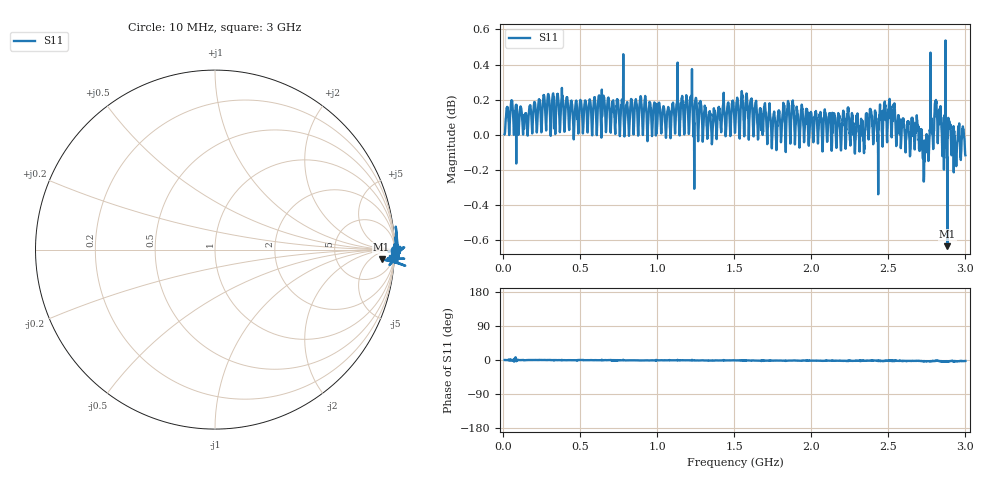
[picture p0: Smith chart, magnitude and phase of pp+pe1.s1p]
# HZ S RI R 50
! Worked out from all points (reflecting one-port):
!   2020 points, 10 MHz to 3 GHz, reference 50 ohm
!   lowest |S11| = -0.6 dB at 2.883 GHz (marker M1), VSWR 27.45, Z = 840 - j668 ohm
!   phase of S11 starts at -0 deg and turns -3 deg over the sweep
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1e7  1 -0.000463
5.887072e7  1.022 -0.0255
6.627538e7  1.01 -0.0398
8.848934e7  1.017 -0.0273
9.737493e7  1.003 0.00192
2.513918e8  1.007 -0.00156
3.846755e8  1.025 -0.00862
5.04631e8  1.022 0.00135
7.578702e8  0.999 -0.0175
1.132546e9  1.048 0.00842
1.336914e9  1.013 -0.0265
1.50574e9  1.002 -0.0162
1.828583e9  1.008 -0.0286
1.878935e9  1.021 -0.0229
2.25361e9  0.9924 -0.0347
2.339504e9  1 -0.021
2.397261e9  1.007 -0.022
2.457979e9  1.002 -0.0443
2.499445e9  1.01 -0.0297
2.626805e9  1.007 -0.0402
2.694928e9  1.005 -0.0437
2.736394e9  0.9831 -0.0596
2.816364e9  1.012 -0.0293
2.85783e9  0.9966 -0.0579
2.883006e9  0.9281 -0.0539
2.908182e9  0.9905 -0.0431
2.939282e9  0.9811 -0.053
3e9  0.9857 -0.0449
